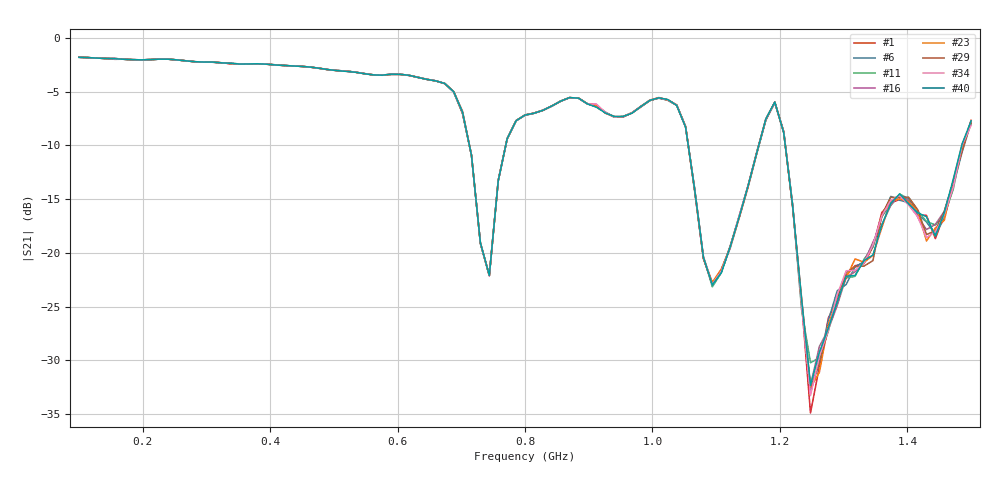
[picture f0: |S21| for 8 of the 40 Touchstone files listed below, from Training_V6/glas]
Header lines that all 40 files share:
! NanoVNA-App
! Start: 100MHz Stop: 1,5GHz Points: 101
! S-Parameter data: F S11 S21 S12 S22
# Hz S RI R 50
!  Frequency  S11_Real  S11_Imag  S21_Real  S21_Imag  S12_Real  S12_Imag  S22_Real  S22_Imag
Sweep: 100 MHz to 1.5 GHz
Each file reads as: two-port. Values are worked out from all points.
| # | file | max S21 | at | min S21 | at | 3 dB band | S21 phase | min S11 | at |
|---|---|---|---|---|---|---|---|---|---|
| 1 | glas (1).s2p | -1.80 dB | 100 MHz | -34.9 dB | 1.248 GHz | 100 MHz-674 MHz | 90 deg at 800 MHz | -41.8 dB | 492 MHz |
| 2 | glas (2).s2p | -1.80 dB | 100 MHz | -31.1 dB | 1.248 GHz | 100 MHz-674 MHz | 90 deg at 800 MHz | -42.1 dB | 492 MHz |
| 3 | glas (3).s2p | -1.80 dB | 100 MHz | -34.0 dB | 1.248 GHz | 100 MHz-674 MHz | 90 deg at 800 MHz | -41.6 dB | 492 MHz |
| 4 | glas (4).s2p | -1.80 dB | 100 MHz | -30.9 dB | 1.248 GHz | 100 MHz-674 MHz | 90 deg at 800 MHz | -41.8 dB | 492 MHz |
| 5 | glas (5).s2p | -1.80 dB | 100 MHz | -32.4 dB | 1.248 GHz | 100 MHz-674 MHz | 90 deg at 800 MHz | -42.1 dB | 492 MHz |
| 6 | glas (6).s2p | -1.80 dB | 100 MHz | -32.9 dB | 1.248 GHz | 100 MHz-674 MHz | 90 deg at 800 MHz | -41.4 dB | 492 MHz |
| 7 | glas (7).s2p | -1.80 dB | 100 MHz | -30.1 dB | 1.248 GHz | 100 MHz-674 MHz | 90 deg at 800 MHz | -41.9 dB | 492 MHz |
| 8 | glas (8).s2p | -1.80 dB | 100 MHz | -31.7 dB | 1.248 GHz | 100 MHz-674 MHz | 90 deg at 800 MHz | -41.6 dB | 492 MHz |
| 9 | glas (9).s2p | -1.80 dB | 100 MHz | -31.8 dB | 1.248 GHz | 100 MHz-674 MHz | 90 deg at 800 MHz | -41.9 dB | 492 MHz |
| 10 | glas (10).s2p | -1.80 dB | 100 MHz | -31.1 dB | 1.248 GHz | 100 MHz-674 MHz | 90 deg at 800 MHz | -41.9 dB | 492 MHz |
| 11 | glas (11).s2p | -1.80 dB | 100 MHz | -30.2 dB | 1.248 GHz | 100 MHz-674 MHz | 90 deg at 800 MHz | -42.2 dB | 492 MHz |
| 12 | glas (12).s2p | -1.80 dB | 100 MHz | -33.2 dB | 1.248 GHz | 100 MHz-674 MHz | 90 deg at 800 MHz | -42.2 dB | 492 MHz |
| 13 | glas (13).s2p | -1.80 dB | 100 MHz | -33.4 dB | 1.248 GHz | 100 MHz-674 MHz | 90 deg at 800 MHz | -41.9 dB | 492 MHz |
| 14 | glas (14).s2p | -1.80 dB | 100 MHz | -30.4 dB | 1.248 GHz | 100 MHz-674 MHz | 90 deg at 800 MHz | -41.8 dB | 492 MHz |
| 15 | glas (15).s2p | -1.80 dB | 100 MHz | -32.7 dB | 1.248 GHz | 100 MHz-674 MHz | 90 deg at 800 MHz | -41.9 dB | 492 MHz |
| 16 | glas (16).s2p | -1.80 dB | 100 MHz | -32.3 dB | 1.248 GHz | 100 MHz-674 MHz | 90 deg at 800 MHz | -41.8 dB | 492 MHz |
| 17 | glas (17).s2p | -1.80 dB | 100 MHz | -31.7 dB | 1.248 GHz | 100 MHz-674 MHz | 90 deg at 800 MHz | -41.6 dB | 492 MHz |
| 18 | glas (18).s2p | -1.80 dB | 100 MHz | -32.6 dB | 1.248 GHz | 100 MHz-674 MHz | 90 deg at 800 MHz | -42.1 dB | 492 MHz |
| 19 | glas (19).s2p | -1.80 dB | 100 MHz | -31.0 dB | 1.248 GHz | 100 MHz-674 MHz | 90 deg at 800 MHz | -41.7 dB | 492 MHz |
| 20 | glas (20).s2p | -1.80 dB | 100 MHz | -31.5 dB | 1.248 GHz | 100 MHz-674 MHz | 90 deg at 800 MHz | -41.7 dB | 492 MHz |
| 21 | glas (21).s2p | -1.80 dB | 100 MHz | -30.9 dB | 1.262 GHz | 100 MHz-674 MHz | 90 deg at 800 MHz | -42.0 dB | 492 MHz |
| 22 | glas (22).s2p | -1.80 dB | 100 MHz | -32.1 dB | 1.248 GHz | 100 MHz-674 MHz | 90 deg at 800 MHz | -41.6 dB | 492 MHz |
| 23 | glas (23).s2p | -1.80 dB | 100 MHz | -32.6 dB | 1.248 GHz | 100 MHz-674 MHz | 90 deg at 800 MHz | -41.7 dB | 492 MHz |
| 24 | glas (24).s2p | -1.80 dB | 100 MHz | -31.3 dB | 1.248 GHz | 100 MHz-674 MHz | 90 deg at 800 MHz | -41.9 dB | 492 MHz |
| 25 | glas (25).s2p | -1.80 dB | 100 MHz | -32.9 dB | 1.248 GHz | 100 MHz-674 MHz | 90 deg at 800 MHz | -41.6 dB | 492 MHz |
| 26 | glas (26).s2p | -1.80 dB | 100 MHz | -31.2 dB | 1.248 GHz | 100 MHz-674 MHz | 90 deg at 800 MHz | -41.6 dB | 492 MHz |
| 27 | glas (27).s2p | -1.80 dB | 100 MHz | -31.3 dB | 1.248 GHz | 100 MHz-674 MHz | 90 deg at 800 MHz | -41.8 dB | 492 MHz |
| 28 | glas (28).s2p | -1.80 dB | 100 MHz | -32.3 dB | 1.248 GHz | 100 MHz-674 MHz | 90 deg at 800 MHz | -41.8 dB | 492 MHz |
| 29 | glas (29).s2p | -1.80 dB | 100 MHz | -32.5 dB | 1.248 GHz | 100 MHz-674 MHz | 90 deg at 800 MHz | -41.9 dB | 492 MHz |
| 30 | glas (30).s2p | -1.80 dB | 100 MHz | -30.8 dB | 1.262 GHz | 100 MHz-674 MHz | 90 deg at 800 MHz | -41.6 dB | 492 MHz |
| 31 | glas (31).s2p | -1.80 dB | 100 MHz | -32.2 dB | 1.248 GHz | 100 MHz-674 MHz | 90 deg at 800 MHz | -42.2 dB | 492 MHz |
| 32 | glas (32).s2p | -1.80 dB | 100 MHz | -31.2 dB | 1.248 GHz | 100 MHz-674 MHz | 90 deg at 800 MHz | -41.5 dB | 492 MHz |
| 33 | glas (33).s2p | -1.80 dB | 100 MHz | -32.8 dB | 1.248 GHz | 100 MHz-674 MHz | 90 deg at 800 MHz | -41.8 dB | 492 MHz |
| 34 | glas (34).s2p | -1.80 dB | 100 MHz | -33.3 dB | 1.248 GHz | 100 MHz-674 MHz | 90 deg at 800 MHz | -41.9 dB | 492 MHz |
| 35 | glas (35).s2p | -1.80 dB | 100 MHz | -32.6 dB | 1.248 GHz | 100 MHz-674 MHz | 90 deg at 800 MHz | -41.4 dB | 492 MHz |
| 36 | glas (36).s2p | -1.80 dB | 100 MHz | -32.9 dB | 1.248 GHz | 100 MHz-674 MHz | 90 deg at 800 MHz | -41.8 dB | 492 MHz |
| 37 | glas (37).s2p | -1.80 dB | 100 MHz | -32.8 dB | 1.248 GHz | 100 MHz-674 MHz | 90 deg at 800 MHz | -41.5 dB | 492 MHz |
| 38 | glas (38).s2p | -1.80 dB | 100 MHz | -33.9 dB | 1.248 GHz | 100 MHz-674 MHz | 90 deg at 800 MHz | -42.0 dB | 492 MHz |
| 39 | glas (39).s2p | -1.80 dB | 100 MHz | -31.3 dB | 1.248 GHz | 100 MHz-674 MHz | 90 deg at 800 MHz | -41.7 dB | 492 MHz |
| 40 | glas (40).s2p | -1.80 dB | 100 MHz | -32.3 dB | 1.248 GHz | 100 MHz-674 MHz | 90 deg at 800 MHz | -41.6 dB | 492 MHz |
